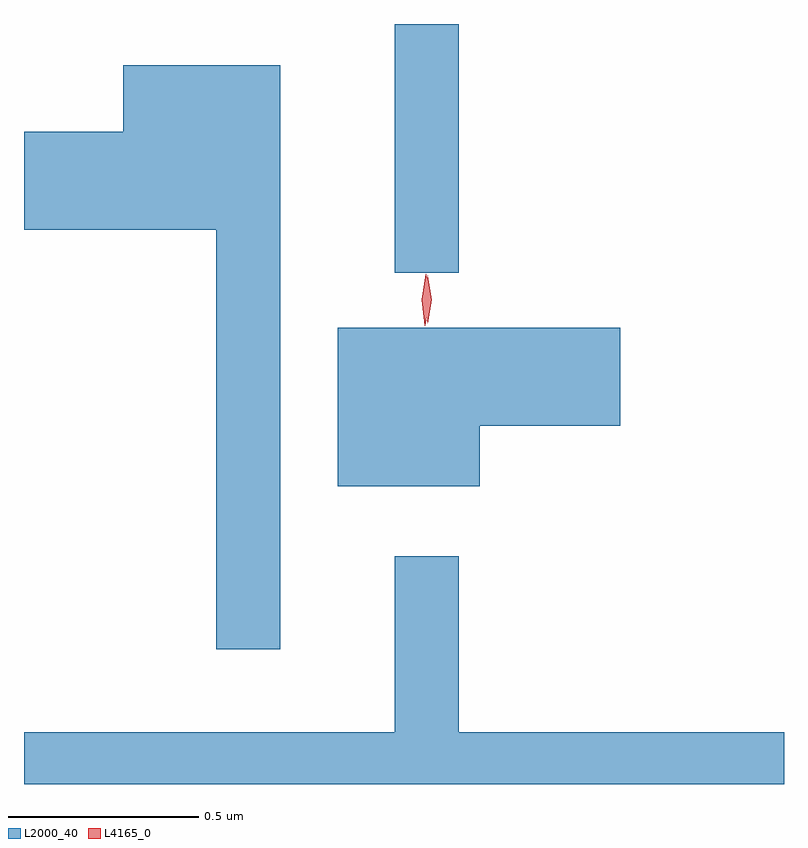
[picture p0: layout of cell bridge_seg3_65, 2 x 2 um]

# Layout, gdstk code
import gdstk
lib = gdstk.Library(unit=1e-6, precision=1e-09)
def R(c, l, rs):  # rectangles x0, y0, x1, y1
    for r in rs: c.add(gdstk.rectangle(r[:2], r[2:], *l))
def P(c, l, *ps):  # polygons
    for p in ps: c.add(gdstk.Polygon(p, *l))
L2000_40 = (2000, 40)
L4165_0 = (4165, 0)

bridge_seg3_65 = lib.new_cell('bridge_seg3_65')
R(bridge_seg3_65, L2000_40, [(1128.801,1136.373,1128.969,1137.028)])
P(bridge_seg3_65, L2000_40, [(1128.499,1136.919),(1128.086,1136.919),(1128.086,1136.744),(1127.825,1136.744),(1127.825,1136.486),(1128.331,1136.486),(1128.331,1135.383),(1128.499,1135.383)],
  [(1129.024,1135.971),(1129.394,1135.971),(1129.394,1136.229),(1128.651,1136.229),(1128.651,1135.811),(1129.024,1135.811)],
  [(1129.825,1135.164),(1128.969,1135.164),(1128.969,1135.628),(1128.801,1135.628),(1128.801,1135.164),(1127.825,1135.164),(1127.825,1135.028),(1129.825,1135.028)])
P(bridge_seg3_65, L4165_0, [(1128.887,1136.24),(1128.878,1136.303),(1128.887,1136.366),(1128.888,1136.367),(1128.888,1136.366),(1128.898,1136.303),(1128.888,1136.24),(1128.888,1136.24)],
  [(1128.88,1136.234),(1128.872,1136.302),(1128.882,1136.37),(1128.882,1136.37),(1128.883,1136.37),(1128.892,1136.302),(1128.881,1136.234),(1128.881,1136.234)])

lib.write_gds('bridge_seg3_65.gds')
